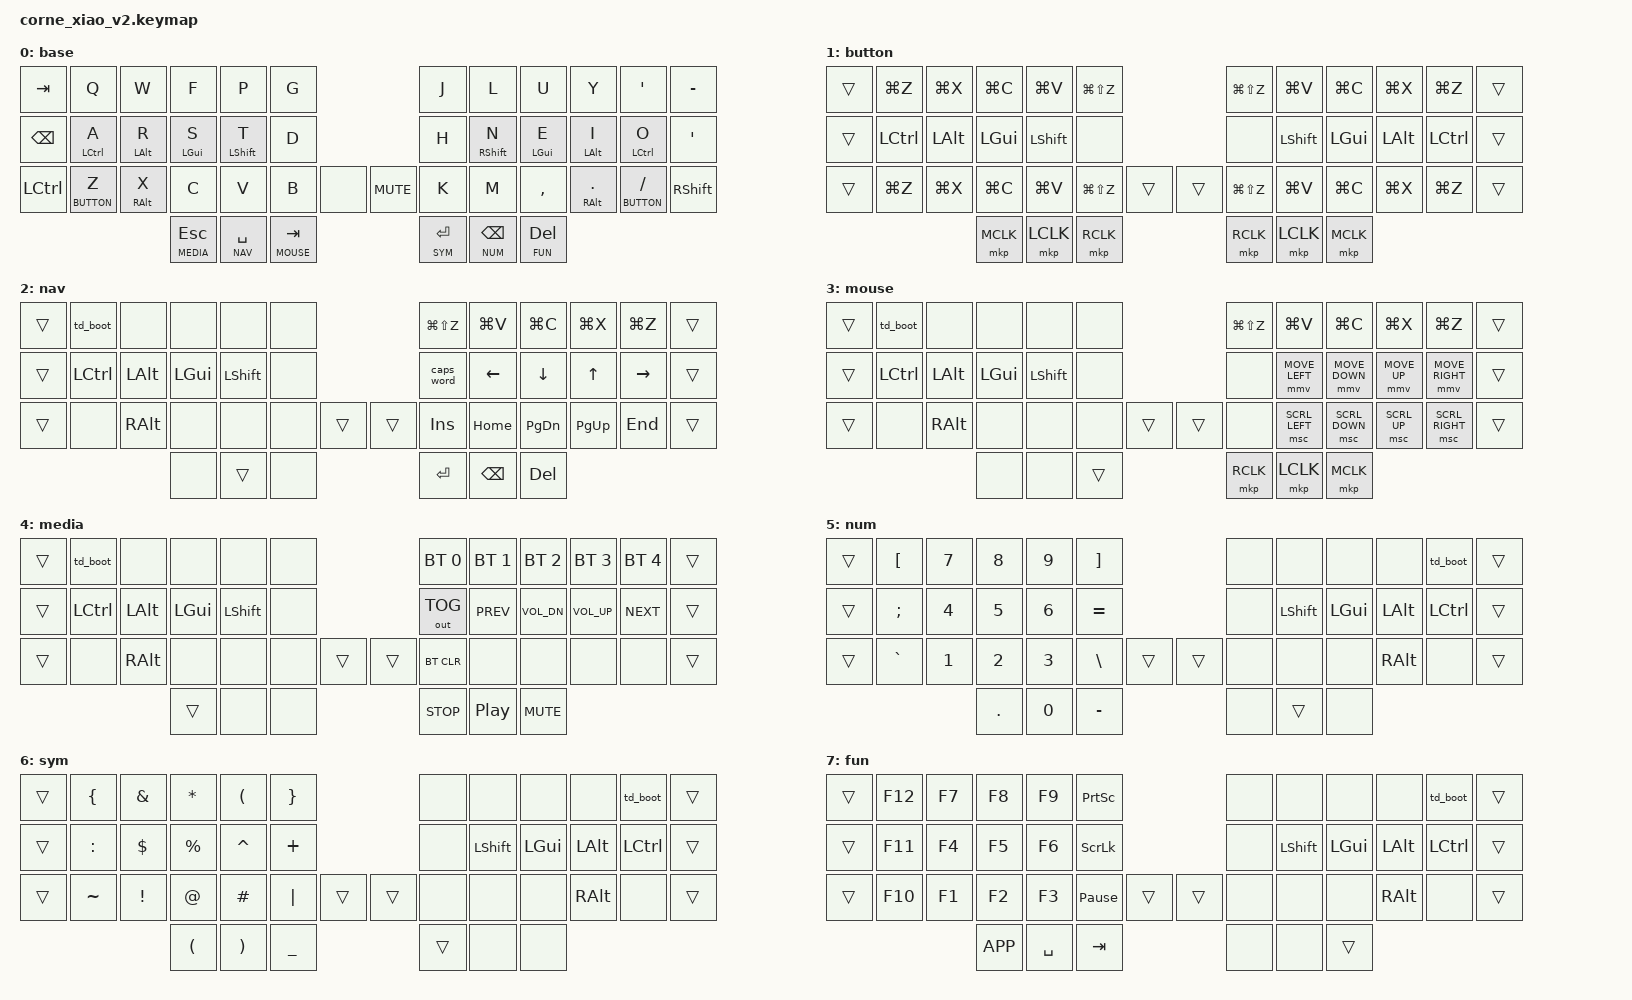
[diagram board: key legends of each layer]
/*
 * Miryoku layout for Corne XIAO v2 (ZMK v0.3), macOS clipboard shortcuts.
 *
 * Core 36 keys (3x5 + 3 thumbs per half) follow canonical Miryoku Colemak.
 * macOS input source must be ABC / U.S. (Colemak lives in the firmware).
 * Corne optimisations:
 *   - Outer columns carry convenience keys (Tab/Bspc/Ctrl | -_/'"/Shift).
 *     Everything except "-" is also reachable from the core 36 (- lives on NUM).
 *   - Positional ("opposite hand") homerow mods with balanced flavor to cut misfires.
 *   - Thumb layer-taps get quick-tap so Space/Bspc auto-repeat on tap-then-hold.
 *   - Bootloader is double-tap protected (like Miryoku's TD(BOOT)).
 */

#include <behaviors.dtsi>
#include <dt-bindings/zmk/keys.h>
#include <dt-bindings/zmk/bt.h>
#include <dt-bindings/zmk/outputs.h>
#include <dt-bindings/zmk/mouse.h>

#define BASE   0
#define BUTTON 1
#define NAV    2
#define MOUSE  3
#define MEDIA  4
#define NUM    5
#define SYM    6
#define FUN    7

// macOS clipboard
#define U_UND LG(Z)
#define U_RDO LG(LS(Z))
#define U_CUT LG(X)
#define U_CPY LG(C)
#define U_PST LG(V)

// Key positions (44 total: 12+12+14+6)
// Row 0:  0  1  2  3  4  5  |  6  7  8  9 10 11
// Row 1: 12 13 14 15 16 17  | 18 19 20 21 22 23
// Row 2: 24 25 26 27 28 29 [30 31] 32 33 34 35 36 37
// Thumb: 38 39 40            | 41 42 43
// [30]=left enc btn (inactive), [31]=right enc btn
#define KEYS_L 0 1 2 3 4 5 12 13 14 15 16 17 24 25 26 27 28 29 30
#define KEYS_R 6 7 8 9 10 11 18 19 20 21 22 23 31 32 33 34 35 36 37
#define THUMBS 38 39 40 41 42 43

#define ENC_BINDINGS sensor-bindings = <&inc_dec_kp C_VOL_UP C_VOL_DN &inc_dec_kp C_VOL_UP C_VOL_DN>

&lt {
    quick-tap-ms = <200>;
};

/ {
    combos {
        compatible = "zmk,combos";

        combo_studio_unlock {
            timeout-ms = <50>;
            key-positions = <0 1>;
            bindings = <&studio_unlock>;
        };
    };

    behaviors {
        // Left-hand mods: hold only when followed by a right-hand key or any thumb
        hml: homerow_mod_left {
            compatible = "zmk,behavior-hold-tap";
            #binding-cells = <2>;
            tapping-term-ms = <280>;
            quick-tap-ms = <175>;
            require-prior-idle-ms = <150>;
            flavor = "balanced";
            hold-trigger-key-positions = <KEYS_R THUMBS>;
            hold-trigger-on-release;
            bindings = <&kp>, <&kp>;
        };

        // Right-hand mods: hold only when followed by a left-hand key or any thumb
        hmr: homerow_mod_right {
            compatible = "zmk,behavior-hold-tap";
            #binding-cells = <2>;
            tapping-term-ms = <280>;
            quick-tap-ms = <175>;
            require-prior-idle-ms = <150>;
            flavor = "balanced";
            hold-trigger-key-positions = <KEYS_L THUMBS>;
            hold-trigger-on-release;
            bindings = <&kp>, <&kp>;
        };

        // Double-tap to enter bootloader; single tap does nothing
        td_boot: tap_dance_boot {
            compatible = "zmk,behavior-tap-dance";
            #binding-cells = <0>;
            tapping-term-ms = <200>;
            bindings = <&none>, <&bootloader>;
        };
    };

    keymap {
        compatible = "zmk,keymap";

        // ╭──────┬──────┬──────┬──────┬──────┬──────╮   ╭──────┬──────┬──────┬──────┬──────┬──────╮
        // │ Tab  │  Q   │  W   │  F   │  P   │  G   │   │  J   │  L   │  U   │  Y   │  '   │ - _  │
        // │ Bspc │CTL/A │ALT/R │GUI/S │SFT/T │  D   │   │  H   │SFT/N │GUI/E │ALT/I │CTL/O │ ' "  │
        // │ Ctrl │BTN/Z │AGR/X │  C   │  V   │  B   │   │  K   │  M   │  ,   │AGR/. │BTN// │ Sft  │
        // ╰──────┴──────┴──────┼──────┼──────┼──────┤   ├──────┼──────┼──────┼──────┴──────┴──────╯
        //                      │MED/⎋ │NAV/⎵ │MSE/⇥ │   │SYM/↵ │NUM/⌫ │FUN/⌦ │
        //                      ╰──────┴──────┴──────╯   ╰──────┴──────┴──────╯
        base_layer {
            display-name = "base";
            ENC_BINDINGS;
            bindings = <
&kp TAB    &kp Q          &kp W         &kp F          &kp P          &kp G                         &kp J          &kp L          &kp U          &kp Y          &kp SQT          &kp MINUS
&kp BSPC   &hml LCTRL A    &hml LALT R   &hml LGUI S   &hml LSHFT T   &kp D                         &kp H          &hmr RSHFT N   &hmr LGUI E   &hmr LALT I    &hmr LCTRL O      &kp SQT
&kp LCTRL  &lt BUTTON Z   &hml RALT X   &kp C          &kp V          &kp B    &none  &kp C_MUTE    &kp K          &kp M          &kp COMMA      &hmr RALT DOT  &lt BUTTON FSLH  &kp RSHFT
                                        &lt MEDIA ESC  &lt NAV SPC    &lt MOUSE TAB                 &lt SYM RET    &lt NUM BSPC   &lt FUN DEL
            >;
        };

        // ╭──────┬──────┬──────┬──────┬──────┬──────╮   ╭──────┬──────┬──────┬──────┬──────┬──────╮
        // │      │ Undo │ Cut  │ Copy │Paste │ Redo │   │ Redo │Paste │ Copy │ Cut  │ Undo │      │
        // │      │ CTL  │ ALT  │ GUI  │ SFT  │      │   │      │ SFT  │ GUI  │ ALT  │ CTL  │      │
        // │      │ Undo │ Cut  │ Copy │Paste │ Redo │   │ Redo │Paste │ Copy │ Cut  │ Undo │      │
        // ╰──────┴──────┴──────┼──────┼──────┼──────┤   ├──────┼──────┼──────┼──────┴──────┴──────╯
        //                      │MClick│LClick│RClick│   │RClick│LClick│MClick│
        //                      ╰──────┴──────┴──────╯   ╰──────┴──────┴──────╯
        button_layer {
            display-name = "button";
            ENC_BINDINGS;
            bindings = <
&trans  &kp U_UND  &kp U_CUT  &kp U_CPY   &kp U_PST   &kp U_RDO                 &kp U_RDO  &kp U_PST   &kp U_CPY   &kp U_CUT  &kp U_UND  &trans
&trans  &kp LCTRL   &kp LALT   &kp LGUI   &kp LSHFT   &none                     &none      &kp LSHFT   &kp LGUI   &kp LALT   &kp LCTRL   &trans
&trans  &kp U_UND  &kp U_CUT  &kp U_CPY   &kp U_PST   &kp U_RDO  &trans &trans  &kp U_RDO  &kp U_PST   &kp U_CPY   &kp U_CUT  &kp U_UND  &trans
                              &mkp MCLK   &mkp LCLK   &mkp RCLK                 &mkp RCLK  &mkp LCLK   &mkp MCLK
            >;
        };

        // ╭──────┬──────┬──────┬──────┬──────┬──────╮   ╭──────┬──────┬──────┬──────┬──────┬──────╮
        // │      │Boot²│      │      │      │      │   │ Redo │Paste │ Copy │ Cut  │ Undo │      │
        // │      │ CTL  │ ALT  │ GUI  │ SFT  │      │   │CapsW │  ←   │  ↓   │  ↑   │  →   │      │
        // │      │      │ AGR  │      │      │      │   │ Ins  │ Home │ PgDn │ PgUp │ End  │      │
        // ╰──────┴──────┴──────┼──────┼──────┼──────┤   ├──────┼──────┼──────┼──────┴──────┴──────╯
        //                      │      │ held │      │   │  ↵   │  ⌫   │  ⌦   │
        //                      ╰──────┴──────┴──────╯   ╰──────┴──────┴──────╯
        nav_layer {
            display-name = "nav";
            ENC_BINDINGS;
            bindings = <
&trans  &td_boot   &none      &none       &none       &none                     &kp U_RDO    &kp U_PST  &kp U_CPY  &kp U_CUT   &kp U_UND   &trans
&trans  &kp LCTRL   &kp LALT   &kp LGUI   &kp LSHFT   &none                     &caps_word   &kp LEFT   &kp DOWN   &kp UP      &kp RIGHT   &trans
&trans  &none      &kp RALT   &none       &none       &none      &trans &trans  &kp INS      &kp HOME   &kp PG_DN  &kp PG_UP   &kp END     &trans
                              &none       &trans      &none                     &kp RET      &kp BSPC   &kp DEL
            >;
        };

        // ╭──────┬──────┬──────┬──────┬──────┬──────╮   ╭──────┬──────┬──────┬──────┬──────┬──────╮
        // │      │Boot²│      │      │      │      │   │ Redo │Paste │ Copy │ Cut  │ Undo │      │
        // │      │ CTL  │ ALT  │ GUI  │ SFT  │      │   │      │ M←   │ M↓   │ M↑   │ M→   │      │
        // │      │      │ AGR  │      │      │      │   │      │ W←   │ W↓   │ W↑   │ W→   │      │
        // ╰──────┴──────┴──────┼──────┼──────┼──────┤   ├──────┼──────┼──────┼──────┴──────┴──────╯
        //                      │      │      │ held │   │RClick│LClick│MClick│
        //                      ╰──────┴──────┴──────╯   ╰──────┴──────┴──────╯
        mouse_layer {
            display-name = "mouse";
            ENC_BINDINGS;
            bindings = <
&trans  &td_boot   &none      &none       &none       &none                     &kp U_RDO  &kp U_PST       &kp U_CPY       &kp U_CUT     &kp U_UND        &trans
&trans  &kp LCTRL   &kp LALT   &kp LGUI   &kp LSHFT   &none                     &none      &mmv MOVE_LEFT  &mmv MOVE_DOWN  &mmv MOVE_UP  &mmv MOVE_RIGHT  &trans
&trans  &none      &kp RALT   &none       &none       &none      &trans &trans  &none      &msc SCRL_LEFT  &msc SCRL_DOWN  &msc SCRL_UP  &msc SCRL_RIGHT  &trans
                              &none       &none       &trans                    &mkp RCLK  &mkp LCLK       &mkp MCLK
            >;
        };

        // ╭──────┬──────┬──────┬──────┬──────┬──────╮   ╭──────┬──────┬──────┬──────┬──────┬──────╮
        // │      │Boot²│      │      │      │      │   │ BT0  │ BT1  │ BT2  │ BT3  │ BT4  │      │
        // │      │ CTL  │ ALT  │ GUI  │ SFT  │      │   │USB/BT│ Prev │ Vol- │ Vol+ │ Next │      │
        // │      │      │ AGR  │      │      │      │   │BT clr│      │      │      │      │      │
        // ╰──────┴──────┴──────┼──────┼──────┼──────┤   ├──────┼──────┼──────┼──────┴──────┴──────╯
        //                      │ held │      │      │   │ Stop │ Play │ Mute │
        //                      ╰──────┴──────┴──────╯   ╰──────┴──────┴──────╯
        media_layer {
            display-name = "media";
            ENC_BINDINGS;
            bindings = <
&trans  &td_boot   &none      &none       &none       &none                     &bt BT_SEL 0   &bt BT_SEL 1  &bt BT_SEL 2  &bt BT_SEL 3  &bt BT_SEL 4  &trans
&trans  &kp LCTRL   &kp LALT   &kp LGUI   &kp LSHFT   &none                     &out OUT_TOG   &kp C_PREV    &kp C_VOL_DN  &kp C_VOL_UP  &kp C_NEXT    &trans
&trans  &none      &kp RALT   &none       &none       &none      &trans &trans  &bt BT_CLR     &none         &none         &none         &none         &trans
                              &trans      &none       &none                     &kp C_STOP     &kp C_PP      &kp C_MUTE
            >;
        };

        // ╭──────┬──────┬──────┬──────┬──────┬──────╮   ╭──────┬──────┬──────┬──────┬──────┬──────╮
        // │      │  [   │  7   │  8   │  9   │  ]   │   │      │      │      │      │Boot²│      │
        // │      │  ;   │  4   │  5   │  6   │  =   │   │      │ SFT  │ GUI  │ ALT  │ CTL  │      │
        // │      │  `   │  1   │  2   │  3   │  \   │   │      │      │      │ AGR  │      │      │
        // ╰──────┴──────┴──────┼──────┼──────┼──────┤   ├──────┼──────┼──────┼──────┴──────┴──────╯
        //                      │  .   │  0   │  -   │   │      │ held │      │
        //                      ╰──────┴──────┴──────╯   ╰──────┴──────┴──────╯
        num_layer {
            display-name = "num";
            ENC_BINDINGS;
            bindings = <
&trans  &kp LBKT   &kp N7     &kp N8      &kp N9      &kp RBKT                  &none      &none       &none       &none      &td_boot   &trans
&trans  &kp SEMI   &kp N4     &kp N5      &kp N6      &kp EQUAL                 &none      &kp LSHFT   &kp LGUI   &kp LALT   &kp LCTRL   &trans
&trans  &kp GRAVE  &kp N1     &kp N2      &kp N3      &kp BSLH   &trans &trans  &none      &none       &none       &kp RALT   &none      &trans
                              &kp DOT     &kp N0      &kp MINUS                 &none      &trans      &none
            >;
        };

        // ╭──────┬──────┬──────┬──────┬──────┬──────╮   ╭──────┬──────┬──────┬──────┬──────┬──────╮
        // │      │  {   │  &   │  *   │  (   │  }   │   │      │      │      │      │Boot²│      │
        // │      │  :   │  $   │  %   │  ^   │  +   │   │      │ SFT  │ GUI  │ ALT  │ CTL  │      │
        // │      │  ~   │  !   │  @   │  #   │  |   │   │      │      │      │ AGR  │      │      │
        // ╰──────┴──────┴──────┼──────┼──────┼──────┤   ├──────┼──────┼──────┼──────┴──────┴──────╯
        //                      │  (   │  )   │  _   │   │ held │      │      │
        //                      ╰──────┴──────┴──────╯   ╰──────┴──────┴──────╯
        sym_layer {
            display-name = "sym";
            ENC_BINDINGS;
            bindings = <
&trans  &kp LBRC   &kp AMPS   &kp ASTRK   &kp LPAR    &kp RBRC                  &none      &none       &none       &none      &td_boot   &trans
&trans  &kp COLON  &kp DLLR   &kp PRCNT   &kp CARET   &kp PLUS                  &none      &kp LSHFT   &kp LGUI   &kp LALT   &kp LCTRL   &trans
&trans  &kp TILDE  &kp EXCL   &kp AT      &kp HASH    &kp PIPE   &trans &trans  &none      &none       &none       &kp RALT   &none      &trans
                              &kp LPAR    &kp RPAR    &kp UNDER                 &trans     &none       &none
            >;
        };

        // ╭──────┬──────┬──────┬──────┬──────┬──────╮   ╭──────┬──────┬──────┬──────┬──────┬──────╮
        // │      │ F12  │  F7  │  F8  │  F9  │PrtSc │   │      │      │      │      │Boot²│      │
        // │      │ F11  │  F4  │  F5  │  F6  │ScrLk │   │      │ SFT  │ GUI  │ ALT  │ CTL  │      │
        // │      │ F10  │  F1  │  F2  │  F3  │Pause │   │      │      │      │ AGR  │      │      │
        // ╰──────┴──────┴──────┼──────┼──────┼──────┤   ├──────┼──────┼──────┼──────┴──────┴──────╯
        //                      │ Menu │  ⎵   │  ⇥   │   │      │      │ held │
        //                      ╰──────┴──────┴──────╯   ╰──────┴──────┴──────╯
        fun_layer {
            display-name = "fun";
            ENC_BINDINGS;
            bindings = <
&trans  &kp F12    &kp F7     &kp F8      &kp F9      &kp PSCRN                 &none      &none       &none       &none      &td_boot   &trans
&trans  &kp F11    &kp F4     &kp F5      &kp F6      &kp SLCK                  &none      &kp LSHFT   &kp LGUI   &kp LALT   &kp LCTRL   &trans
&trans  &kp F10    &kp F1     &kp F2      &kp F3      &kp PAUSE_BREAK &trans &trans &none  &none       &none       &kp RALT   &none      &trans
                              &kp K_APP   &kp SPC     &kp TAB                   &none      &none       &trans
            >;
        };
    };
};
